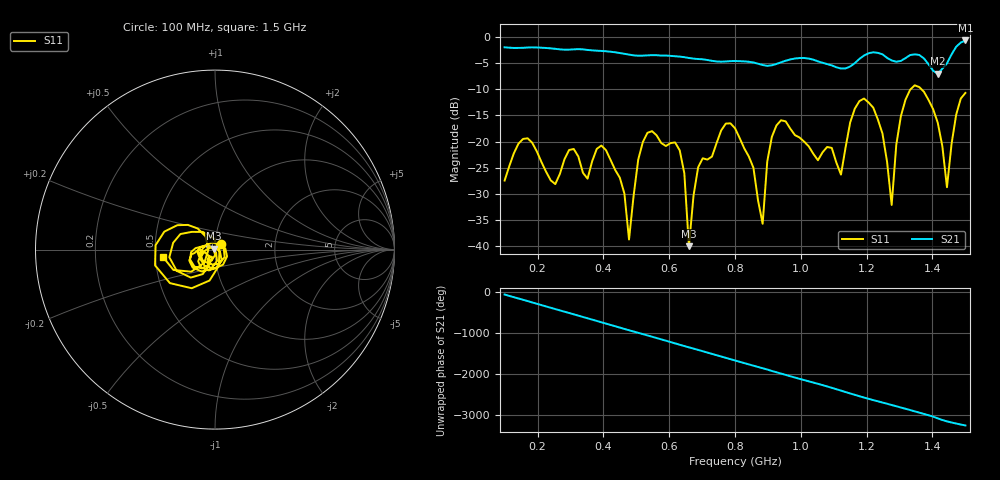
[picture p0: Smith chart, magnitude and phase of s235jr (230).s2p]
! NanoVNA-App
! Date: 2025-09-25 15:05:57
! Start: 100MHz Stop: 1,5GHz Points: 101
! S-Parameter data: F S11 S21 S12 S22
# Hz S RI R 50
!  Frequency  S11_Real  S11_Imag  S21_Real  S21_Imag  S12_Real  S12_Imag  S22_Real  S22_Imag
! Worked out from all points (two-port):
!   101 points, 100 MHz to 1.5 GHz, reference 50 ohm
!   highest |S21| = -0.65 dB at 1.5 GHz (marker M1); lowest = -7.0 dB at 1.416 GHz (marker M2)
!   |S21| within 3 dB of the highest: start of sweep to 614.3 MHz; 1.19 GHz to 1.255 GHz (65.61 MHz wide, 5.37 % of centre) (the widest 2 of 4)
!   lowest |S11| = -40.0 dB at 660 MHz (marker M3), VSWR 1.02, Z = 49.2 + j0.549 ohm
!   |S11| at or under -10 dB: start of sweep to 1.333 GHz; 1.367 GHz to end of sweep
!   S12 and S22 are empty: the file has one direction only
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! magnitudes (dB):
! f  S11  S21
! 100 MHz  -27.5  -2.0
! 170 MHz  -19.4  -2.0
! 338 MHz  -26.0  -2.4
! 408 MHz  -21.6  -2.7
! 478 MHz  -38.7  -3.4
! 520 MHz  -20.1  -3.6
! 576 MHz  -20.3  -3.5
! 632 MHz  -21.7  -3.7
! 660 MHz  -40.0  -4.0
! 688 MHz  -24.9  -4.2
! 800 MHz  -17.5  -4.6
! 884 MHz  -35.7  -5.3
! 926 MHz  -16.9  -5.1
! 1.038 GHz  -22.4  -4.3
! 1.122 GHz  -26.3  -6.0
! 1.192 GHz  -11.8  -3.5
! 1.248 GHz  -18.5  -3.3
! 1.276 GHz  -32.1  -4.5
! 1.332 GHz  -10.1  -3.4
! 1.416 GHz  -16.4  -7.0
! 1.444 GHz  -28.7  -5.0
! 1.5 GHz  -10.7  -0.7
